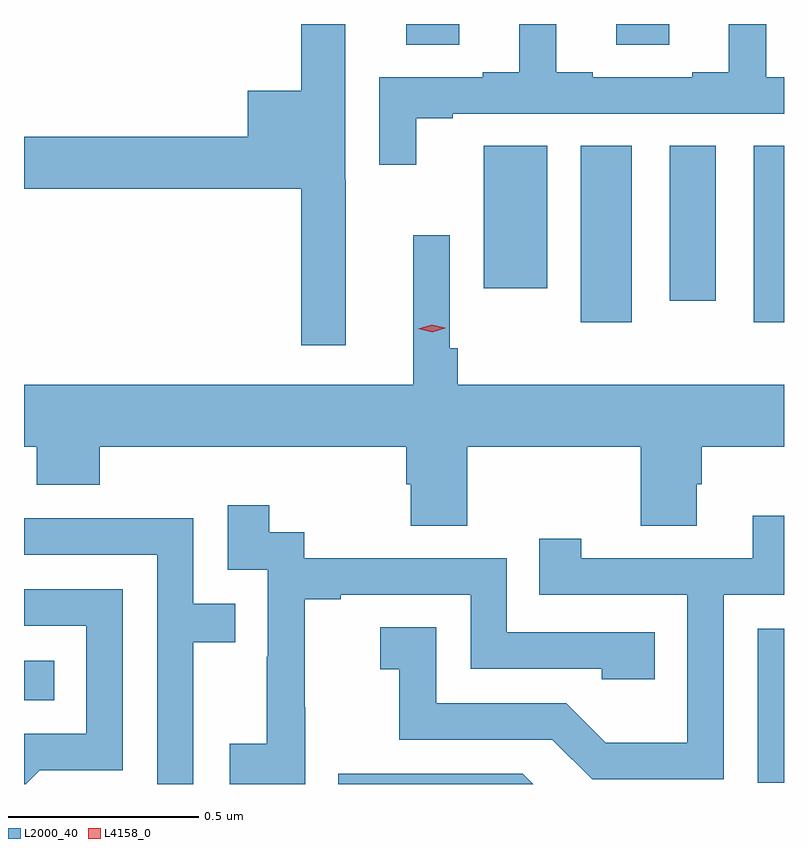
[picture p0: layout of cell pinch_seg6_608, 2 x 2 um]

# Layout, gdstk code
import gdstk
lib = gdstk.Library(unit=1e-6, precision=1e-09)
def R(c, l, rs):  # rectangles x0, y0, x1, y1
    for r in rs: c.add(gdstk.rectangle(r[:2], r[2:], *l))
def P(c, l, *ps):  # polygons
    for p in ps: c.add(gdstk.Polygon(p, *l))
L2000_40 = (2000, 40)
L4158_0 = (4158, 0)

pinch_seg6_608 = lib.new_cell('pinch_seg6_608')
R(pinch_seg6_608, L2000_40, [(523.014,971.76,523.083,972.165), (521.083,971.978,521.162,972.082), (522.548,972.972,522.682,973.436), (523.004,972.972,523.083,973.436), (522.782,973.029,522.904,973.436), (522.293,973.062,522.46,973.436), (522.089,973.702,522.229,973.757), (522.641,973.702,522.781,973.757)])
P(pinch_seg6_608, L2000_40, [(521.93,973.347),(521.928,973.347),(521.928,973.757),(521.812,973.757),(521.812,973.582),(521.672,973.582),(521.672,973.46),(521.083,973.46),(521.083,973.324),(521.812,973.324),(521.812,972.912),(521.93,972.912)],
  [(522.115,973.509),(522.211,973.509),(522.211,973.521),(523.083,973.521),(523.083,973.617),(523.036,973.617),(523.036,973.757),(522.938,973.757),(522.938,973.63),(522.842,973.63),(522.842,973.617),(522.58,973.617),(522.58,973.63),(522.484,973.63),(522.484,973.757),(522.386,973.757),(522.386,973.63),(522.29,973.63),(522.29,973.617),(522.018,973.617),(522.018,973.386),(522.115,973.386)],
  [(522.249,972.644),(522.706,972.644),(522.706,972.436),(522.853,972.436),(522.853,972.546),(522.866,972.546),(522.866,972.644),(523.083,972.644),(523.083,972.808),(522.224,972.808),(522.224,972.904),(522.204,972.904),(522.204,973.201),(522.107,973.201),(522.107,972.808),(521.083,972.808),(521.083,972.644),(521.117,972.644),(521.117,972.545),(521.282,972.545),(521.282,972.644),(522.089,972.644),(522.089,972.546),(522.101,972.546),(522.101,972.436),(522.249,972.436)],
  [(521.823,971.959),(521.822,971.959),(521.822,972.243),(521.917,972.243),(521.917,972.255),(522.258,972.255),(522.258,972.06),(522.603,972.06),(522.603,972.033),(522.743,972.033),(522.743,972.156),(522.354,972.156),(522.354,972.351),(521.82,972.351),(521.82,972.42),(521.728,972.42),(521.728,972.49),(521.619,972.49),(521.619,972.321),(521.724,972.321),(521.724,972.092),(521.722,972.092),(521.722,971.863),(521.625,971.863),(521.625,971.757),(521.823,971.757)],
  [(522.924,972.255),(523.083,972.255),(523.083,972.463),(523.001,972.463),(523.001,972.351),(522.55,972.351),(522.55,972.403),(522.439,972.403),(522.439,972.255),(522.828,972.255),(522.828,971.866),(522.614,971.866),(522.51,971.97),(522.168,971.97),(522.168,972.169),(522.02,972.169),(522.02,972.059),(522.07,972.059),(522.07,971.874),(522.473,971.874),(522.578,971.769),(522.924,971.769)],
  [(521.529,972.13),(521.639,972.13),(521.639,972.231),(521.529,972.231),(521.529,972.456),(521.083,972.456),(521.083,972.36),(521.433,972.36),(521.433,971.757),(521.529,971.757)],
  [(521.124,971.793),(521.343,971.793),(521.343,972.27),(521.083,972.27),(521.083,972.174),(521.247,972.174),(521.247,971.889),(521.083,971.889),(521.083,971.757),(521.088,971.757)],
  [(522.396,971.784),(521.91,971.784),(521.91,971.757),(522.423,971.757)])
P(pinch_seg6_608, L4158_0, [(522.157,972.946),(522.12,972.955),(522.12,972.955),(522.12,972.955),(522.156,972.966),(522.192,972.958),(522.192,972.957),(522.192,972.957)])

lib.write_gds('pinch_seg6_608.gds')
